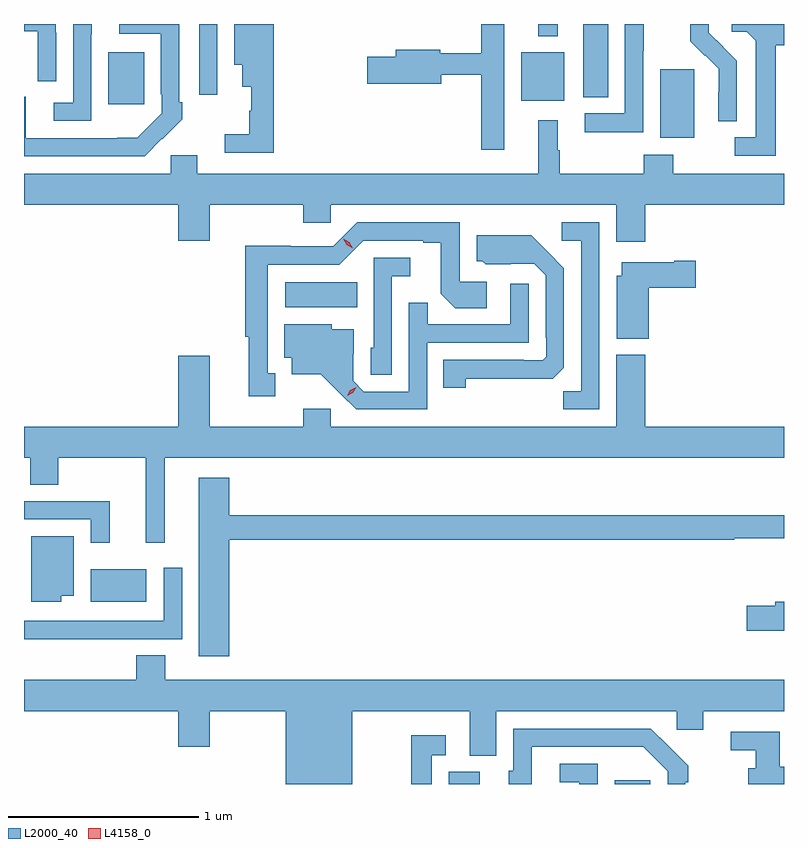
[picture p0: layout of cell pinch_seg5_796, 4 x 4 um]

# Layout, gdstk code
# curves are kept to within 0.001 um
import gdstk
lib = gdstk.Library(unit=1e-6, precision=1e-09)
def R(c, l, rs):  # rectangles x0, y0, x1, y1
    for r in rs: c.add(gdstk.rectangle(r[:2], r[2:], *l))
def P(c, l, *ps):  # polygons
    for p in ps: c.add(gdstk.Polygon(p, *l))
L2000_40 = (2000, 40)
L4158_0 = (4158, 0)

pinch_seg5_796 = lib.new_cell('pinch_seg5_796')
R(pinch_seg5_796, L2000_40, [(789.806,906.992,789.97,907.056), (790.679,906.992,790.867,907.012), (787.922,907.952,788.215,908.122), (788.946,909.5,789.326,909.634), (790.919,910.394,791.098,910.755), (788.015,910.569,788.203,910.843), (790.187,910.589,790.414,910.843), (790.514,910.606,790.645,910.992), (788.493,910.62,788.589,910.992), (790.277,910.928,790.381,910.992)])
P(pinch_seg5_796, L2000_40, [(791.322,910.798),(791.176,910.946),(791.176,910.992),(791.077,910.992),(791.077,910.901),(791.154,910.824),(791.157,910.827),(791.228,910.757),(791.228,910.634),(791.226,910.634),(791.226,910.48),(791.322,910.48)],
  [(787.926,910.939),(787.927,910.939),(787.927,910.992),(787.83,910.992),(787.83,910.578),(787.728,910.578),(787.728,910.482),(787.926,910.482)],
  [(787.74,910.946),(787.739,910.946),(787.739,910.992),(787.571,910.992),(787.571,910.953),(787.644,910.953),(787.644,910.692),(787.74,910.692)],
  [(790.83,910.852),(790.833,910.852),(790.833,910.992),(790.734,910.992),(790.734,910.521),(790.521,910.521),(790.521,910.423),(790.83,910.423)],
  [(788.885,910.665),(788.886,910.665),(788.886,910.992),(788.678,910.992),(788.678,910.778),(788.72,910.778),(788.72,910.661),(788.768,910.661),(788.768,910.536),(788.757,910.536),(788.757,910.413),(788.628,910.413),(788.628,910.314),(788.885,910.314)],
  [(788.297,910.387),(788.298,910.386),(788.403,910.491),(788.403,910.579),(788.388,910.579),(788.388,910.992),(788.073,910.992),(788.073,910.941),(788.292,910.941),(788.292,910.621),(788.295,910.621),(788.295,910.521),(788.167,910.393),(787.579,910.392),(787.579,910.608),(787.571,910.608),(787.571,910.296),(788.206,910.296)],
  [(791.527,910.88),(791.571,910.88),(791.571,910.992),(791.295,910.992),(791.295,910.95),(791.376,910.95),(791.423,910.903),(791.423,910.395),(791.313,910.395),(791.313,910.299),(791.527,910.299)],
  [(790.099,910.992),(789.978,910.992),(789.978,910.837),(789.762,910.837),(789.762,910.856),(789.527,910.856),(789.527,910.82),(789.378,910.82),(789.378,910.678),(789.766,910.678),(789.766,910.724),(789.978,910.724),(789.978,910.329),(790.099,910.329)],
  [(790.841,910.04),(791.571,910.04),(791.571,910.204),(790.989,910.204),(790.989,910.303),(790.834,910.303),(790.834,910.204),(790.391,910.204),(790.391,910.328),(790.381,910.328),(790.381,910.486),(790.277,910.486),(790.277,910.204),(788.482,910.204),(788.482,910.302),(788.343,910.302),(788.343,910.204),(787.571,910.204),(787.571,910.04),(788.384,910.04),(788.384,909.852),(788.548,909.852),(788.548,910.04),(789.04,910.04),(789.04,909.947),(789.186,909.947),(789.186,910.04),(790.688,910.04),(790.688,909.846),(790.841,909.846)],
  [(790.599,909.948),(790.401,909.948),(790.401,909.852),(790.503,909.852),(790.503,909.059),(790.408,909.059),(790.408,908.964),(790.599,908.964)],
  [(788.893,909.153),(788.854,909.153),(788.854,909.726),(789.231,909.726),(789.357,909.852),(789.671,909.852),(789.671,909.84),(789.765,909.84),(789.765,909.572),(789.841,909.496),(790.006,909.496),(790.006,909.636),(789.864,909.636),(789.864,909.948),(789.324,909.948),(789.198,909.822),(788.976,909.822),(788.976,909.824),(788.736,909.824),(788.736,909.345),(788.753,909.345),(788.753,909.033),(788.893,909.033)],
  [(789.897,909.124),(790.354,909.125),(790.413,909.184),(790.413,909.706),(790.241,909.88),(789.953,909.88),(789.953,909.744),(789.984,909.744),(790,909.728),(790.257,909.729),(790.317,909.669),(790.317,909.34),(790.32,909.34),(790.32,909.24),(790.302,909.222),(790.202,909.222),(790.202,909.225),(789.778,909.225),(789.778,909.078),(789.897,909.078)],
  [(789.507,909.665),(789.604,909.665),(789.604,909.762),(789.411,909.762),(789.411,909.288),(789.396,909.288),(789.396,909.145),(789.507,909.145)],
  [(790.858,909.605),(791.107,909.605),(791.107,909.747),(790.994,909.747),(790.994,909.739),(790.718,909.739),(790.718,909.666),(790.691,909.666),(790.691,909.335),(790.858,909.335)],
  [(789.693,909.315),(790.227,909.315),(790.227,909.625),(790.131,909.625),(790.131,909.411),(789.695,909.411),(789.695,909.524),(789.597,909.524),(789.597,909.057),(789.36,909.057),(789.303,909.114),(789.303,909.256),(789.307,909.256),(789.307,909.385),(789.192,909.385),(789.192,909.412),(788.942,909.412),(788.942,909.236),(788.981,909.236),(788.981,909.149),(789.133,909.149),(789.32,908.964),(789.693,908.964)],
  [(788.312,908.708),(791.571,908.708),(791.571,908.872),(790.841,908.872),(790.841,909.25),(790.688,909.25),(790.688,908.872),(789.186,908.872),(789.186,908.968),(789.04,908.968),(789.04,908.872),(788.548,908.872),(788.548,909.247),(788.384,909.247),(788.384,908.872),(787.571,908.872),(787.571,908.708),(787.604,908.708),(787.604,908.566),(787.752,908.566),(787.752,908.708),(788.213,908.708),(788.213,908.262),(788.312,908.262)],
  [(788.651,908.278),(791.31,908.278),(791.31,908.286),(791.571,908.286),(791.571,908.407),(788.651,908.407),(788.651,908.605),(788.492,908.605),(788.492,907.665),(788.651,907.665)],
  [(788.021,908.481),(787.571,908.481),(787.571,908.385),(787.923,908.385),(787.923,908.262),(788.021,908.262)],
  [(787.768,907.982),(787.834,907.982),(787.834,908.296),(787.61,908.296),(787.61,907.952),(787.768,907.952)],
  [(788.078,907.755),(788.403,907.755),(788.403,908.131),(788.307,908.131),(788.307,907.851),(787.571,907.851),(787.571,907.754),(788.078,907.754)],
  [(791.571,907.952),(791.525,907.952),(791.525,907.929),(791.376,907.929),(791.376,907.799),(791.571,907.799)],
  [(789.298,907.376),(789.917,907.376),(789.917,907.141),(790.057,907.141),(790.057,907.376),(791.007,907.376),(791.007,907.278),(791.146,907.278),(791.146,907.376),(791.571,907.376),(791.571,907.54),(788.314,907.54),(788.314,907.67),(788.162,907.67),(788.162,907.54),(787.571,907.54),(787.571,907.376),(788.384,907.376),(788.384,907.188),(788.548,907.188),(788.548,907.376),(788.948,907.376),(788.948,906.992),(789.298,906.992)],
  [(790.243,907.188),(790.831,907.188),(790.959,907.059),(790.959,906.992),(791.052,906.992),(791.052,907.001),(791.067,907.001),(791.067,907.089),(790.87,907.284),(790.146,907.284),(790.146,907.062),(790.121,907.062),(790.121,906.992),(790.243,906.992)],
  [(791.571,907.083),(791.549,907.083),(791.549,907.266),(791.292,907.266),(791.292,907.17),(791.421,907.17),(791.421,907.075),(791.384,907.075),(791.384,906.992),(791.571,906.992)],
  [(789.717,907.143),(789.79,907.143),(789.79,907.249),(789.609,907.249),(789.609,906.992),(789.717,906.992)],
  [(790.59,907.098),(790.392,907.098),(790.392,907.002),(790.494,907.002),(790.494,906.992),(790.59,906.992)])
P(pinch_seg5_796, L4158_0, [(789.272,909.036),(789.272,909.036),(789.289,909.065),(789.32,909.081),(789.32,909.081),(789.32,909.08),(789.302,909.051),(789.272,909.036)],
  [(789.301,909.811),(789.27,909.829),(789.252,909.861),(789.252,909.861),(789.252,909.861),(789.284,909.843),(789.302,909.811),(789.302,909.811)])

lib.write_gds('pinch_seg5_796.gds')
